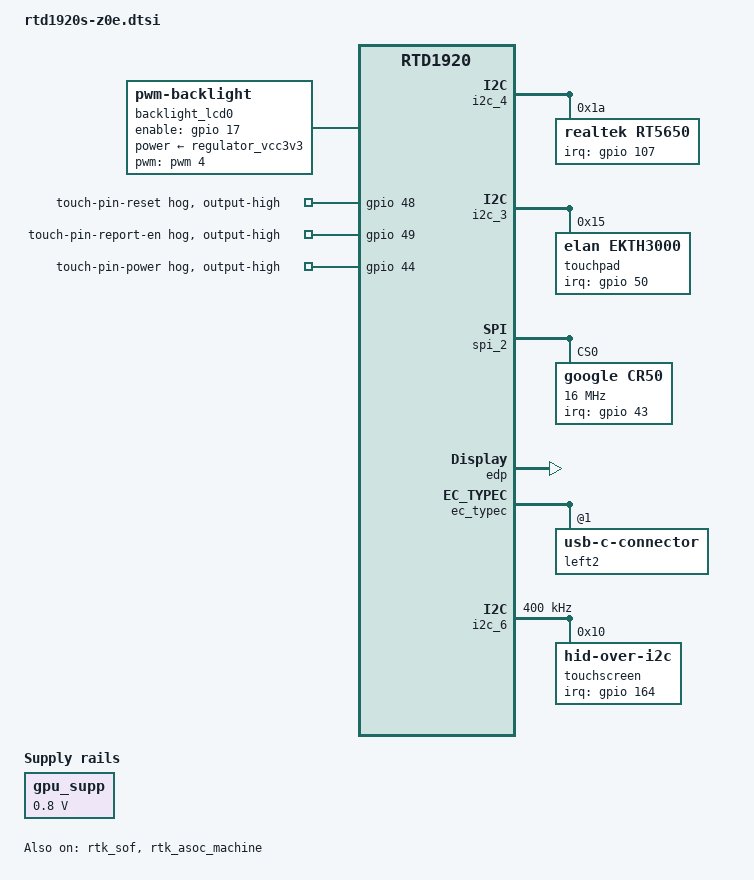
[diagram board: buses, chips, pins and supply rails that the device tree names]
// SPDX-License-Identifier: (GPL-2.0-or-later OR BSD-2-Clause)
/*
 * Realtek RTD1920S Smallville EVB
 *
 * Copyright (c) 2024 Realtek Semiconductor Corp.
 */

/dts-v1/;

#include <dt-bindings/thermal/thermal.h>
#include "rtd1920.dtsi"
#include "rtd1920s-z0e.rds.dtsi"

/ {
	chosen {
		bootargs = "earlycon=uart8250,mmio32,0x98007800 console=ttyS0,460800 8250.nr_uarts=10 init=/init loglevel=8 max_loop=64 loop.max_part=7 firmware_class.path=/vendor/firmware/";
		stdout-path = "serial0:460800n8";
	};

	backlight_lcd0: backlight-lcd0 {
		compatible = "pwm-backlight";
		brightness-levels = <0 1023>;
		default-brightness-level = <576>;
		enable-gpios = <&gpio 17 GPIO_ACTIVE_HIGH>;
		num-interpolated-steps = <1023>;
		pinctrl-0 = <&pwm4_pins>;
		pinctrl-names = "default";
		power-supply = <&regulator_vcc3v3>;
		pwms = <&pwm 4 500000>;
		status = "okay";
	};
};

&sdio {
	wifi-rst-gpios = <&gpio 27 GPIO_ACTIVE_HIGH>;
	wifi-rst-shared;
	device-power-supply = <&wlan_supp>;
};

&pcie0 {
	device-power-gpios = <&gpio 136 GPIO_ACTIVE_HIGH>;
};

&pcie1 {
	device-power-supply = <&wlan_supp>;
};

&hdmi {
	hdmi-supply = <&hdmi_supp>;
	ext-flags = <0x8>;
};

&nic {
	status = "disabled";
};

&{/} {
	clk_scpu: clk-scpu {
		compatible = "realtek,rtd1625-scpu-clk";
		realtek,cc = <&cc>;
		#clock-cells = <0>;
	};

	cpu_opps: opp-table-cpu {
		compatible = "operating-points-v2";
		opp-shared;

		opp1000: opp-1000000000 {
			opp-hz = /bits/ 64 <1000000000>;
			opp-microvolt = <830000 830000 1100000>;
			clock-latency-ns = <150000>;
			status = "okay";
		};

		opp1100: opp-1100000000 {
			opp-hz = /bits/ 64 <1100000000>;
			opp-microvolt = <850000 850000 1100000>;
			clock-latency-ns = <150000>;
			status = "okay";
		};

		opp1200: opp-1200000000 {
			opp-hz = /bits/ 64 <1200000000>;
			opp-microvolt = <870000 870000 1100000>;
			clock-latency-ns = <150000>;
			status = "okay";
		};

		opp1300: opp-1300000000 {
			opp-hz = /bits/ 64 <1300000000>;
			opp-microvolt = <890000 890000 1100000>;
			clock-latency-ns = <150000>;
			status = "okay";
		};

		opp1400: opp-1400000000 {
			opp-hz = /bits/ 64 <1400000000>;
			opp-microvolt = <910000 910000 1100000>;
			clock-latency-ns = <150000>;
			status = "okay";
		};

		opp1500: opp-1500000000 {
			opp-hz = /bits/ 64 <1500000000>;
			opp-microvolt = <930000 930000 1100000>;
			clock-latency-ns = <150000>;
			status = "okay";
		};

		opp1600: opp-1600000000 {
			opp-hz = /bits/ 64 <1600000000>;
			opp-microvolt = <990000 990000 1100000>;
			clock-latency-ns = <150000>;
			opp-suspend;
			status = "okay";
		};

		opp1700: opp-1700000000 {
			opp-hz = /bits/ 64 <1700000000>;
			opp-microvolt = <1010000 1010000 1100000>;
			clock-latency-ns = <150000>;
			status = "okay";
		};

		opp1800: opp-1800000000 {
			opp-hz = /bits/ 64 <1800000000>;
			opp-microvolt = <1030000 1030000 1100000>;
			clock-latency-ns = <150000>;
			status = "okay";
		};

		opp1900: opp-1900000000 {
			opp-hz = /bits/ 64 <1900000000>;
			opp-microvolt = <1050000 1050000 1100000>;
			clock-latency-ns = <150000>;
			status = "okay";
		};
	};
};

&cpu0 {
	clocks = <&clk_scpu>;
	cpu-supply = <&cpu_supp>;
	operating-points-v2 = <&cpu_opps>;
	#cooling-cells = <2>;
};

&cpu1 {
	clocks = <&clk_scpu>;
	cpu-supply = <&cpu_supp>;
	operating-points-v2 = <&cpu_opps>;
	#cooling-cells = <2>;
};

&cpu2 {
	clocks = <&clk_scpu>;
	cpu-supply = <&cpu_supp>;
	operating-points-v2 = <&cpu_opps>;
	#cooling-cells = <2>;
};

&cpu3 {
	clocks = <&clk_scpu>;
	cpu-supply = <&cpu_supp>;
	operating-points-v2 = <&cpu_opps>;
	#cooling-cells = <2>;
};

&gpu {
	mali-supply = <&gpu_supp>;
	shadercores-supply = <&gpu_supp>;
	operating-points-v2 = <&gpu_opps>;
};

&gpio {
	gpio-line-names = "",
			  "",
			  "",
			  "",
			  "",
			  "",
			  "",
			  "",
			  "",
			  "",
			  "",
			  "",
			  "",
			  "",
			  "",
			  "",
			  "",
			  "",
			  "",
			  "",
			  "",
			  "",
			  "",
			  "",
			  "",
			  "",
			  "AP_FLASH_WP_L";
};

&i2c_4 {
        rt5650: rt5650@1a {
                compatible = "realtek,rt5650";
                reg = <0x1a>;
                interrupt-parent = <&gpio>;
                interrupts = <107 IRQ_TYPE_EDGE_BOTH>;
                realtek,jd-mode = <2>;
        };
};

&rtk_sof {
        status = "okay";
	intr-syscon = <&sb2>;
	ipc-syscon = <&sb2_pmu>;
};

&rtk_asoc_machine {
        pinctrl-names = "default";
        pinctrl-0 = <&ao_i2s0_loc0_pins>, <&ao_i2s0_pins>, <&ao_i2s1_loc0_no_mck_pins>, <&ai_i2s0_d0_pins>, <&ai_dmic0_pins>;
        realtek,audio-platform = <&rtk_sof>;
        realtek,audio-codec = <&rt5650>;
	realtek,hdmi-audio = <&hdmi>;
	realtek,dp-audio = <&dp>;
        realtek,dai-link = "RDAI_I2S","RDAI_I2S1","RDAI_DMIC","RDAI_HDMI","RDAI_DP";
        status = "okay";
};

&rtk_pm {
	wakeup-gpio-list = <50 GPIO_WAKEUP_ENABLE GPIO_WAKEUP_ACTIVE_LOW>;
};

&hifi_rpmsg {
        skip-handshake;
};

&{/} {
	gpu_supp: fixed-gpu {
		compatible = "regulator-fixed";
		regulator-name = "gpu";
		regulator-min-microvolt = <800000>;
		regulator-max-microvolt = <800000>;
	};

	gpu_opps: opp-table-gpu {
		compatible = "operating-points-v2", "operating-points-v2-mali";

		opp-405000000 {
			opp-hz = /bits/ 64 <405000000>;
			opp-hz-real = /bits/ 64 <405000000>;
			opp-microvolt = <800000>, <800000>;
			opp-suspend;
		};

		opp-540000000 {
			opp-hz = /bits/ 64 <540000000>;
			opp-hz-real = /bits/ 64 <540000000>;
			opp-microvolt = <800000>, <800000>;
		};

		opp-729000000 {
			opp-hz = /bits/ 64 <729000000>;
			opp-hz-real = /bits/ 64 <729000000>;
			opp-microvolt = <800000>, <800000>;
		};

		opp-850500000 {
			opp-hz = /bits/ 64 <850500000>;
			opp-hz-real = /bits/ 64 <850500000>;
			opp-microvolt = <800000>, <800000>;
		};
	};
};

&sdio {
	status = "disabled";
};

&sdcard {
	status = "disabled";
};

&i2c_3 {
	touchpad@15 {
		compatible = "elan,ekth3000";
		reg = <0x15>;
		pinctrl-names = "default";
		pinctrl-0 = <&trackpad_pins>;
		interrupt-parent = <&gpio>;
		interrupts = <50 IRQ_TYPE_EDGE_FALLING>;
		wakeup-source;
	};
};

&spi_2 {
	status = "okay";

	cr50: cr50@0 {
		compatible = "google,cr50";
		reg = <0x0>;
		pinctrl-names = "default";
		pinctrl-0 = <&gsc_pins>;
		interrupt-parent = <&gpio>;
		interrupts = <43 IRQ_TYPE_EDGE_RISING>;
		spi-max-frequency = <16000000>;
	};
};

&edp {
	status = "okay";
	vcc-gpios = <&gpio 134 GPIO_ACTIVE_HIGH>;
};

&dp {
	status = "disabled";
	/*extcon = <&usbc_extcon0>;*/
};

&ec_typec {
	usb_c1: connector@1 {
		compatible = "usb-c-connector";
		reg = <1>;
		label = "left2";
		power-role = "dual";
		data-role = "host";
		try-power-role = "source";
		status = "okay";

		ports {
			#address-cells = <1>;
			#size-cells = <0>;

			port@1 {
				reg = <1>;

				typec_port1: endpoint { };
			};
		};
	};
};

&regulator_vcc3v3{
	status = "okay";
};

&cpu_thermal {
	sustainable-power = <1000>;
};

&cpu_desired {
	temperature = <90000>;
	hysteresis = <0>;
	type = "passive";
};

&gpio {
	status = "okay";
	touch-pin-reset {
		gpio-hog;
		gpios = <48 GPIO_ACTIVE_HIGH>;
		output-high;
		line-name = "touch-pin-reset";
	};

	touch-pin-report-en {
		gpio-hog;
		gpios = <49 GPIO_ACTIVE_HIGH>;
		output-high;
		line-name = "touch-pin-report-en";
	};

	touch-pin-power {
		gpio-hog;
		gpios = <44 GPIO_ACTIVE_HIGH>;
		output-high;
		line-name = "touch-pin-power";
	};
};

&i2c_6 {
	clock-frequency = <400000>;
	pinctrl-0 = <&i2c6_loc1_pins>, <&i2c6_loc1_sel_pins>;
	status = "okay";

	touchscreen@10 {
		compatible = "hid-over-i2c";
		reg = <0x10>;
		interrupt-parent = <&gpio>;
		interrupts = <164 IRQ_TYPE_EDGE_FALLING>;

		pinctrl-names = "default";
		pinctrl-0 = <&gpio_164_pins>;

		hid-descr-addr = <0x1>;
		post-power-on-delay-ms = <100>;
		status = "okay";
	};
};

